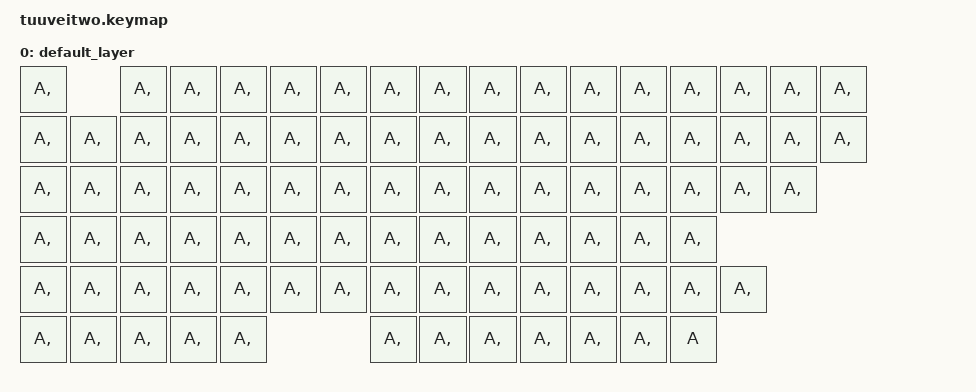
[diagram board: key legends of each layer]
/*
 * Copyright (c) 2022 The ZMK Contributors
 *
 * SPDX-License-Identifier: MIT
 */

#include <behaviors.dtsi>
#include <dt-bindings/zmk/keys.h>
#include <dt-bindings/zmk/bt.h>

#include <behaviors/num_word.dtsi> // Requires zmk-auto-layer module.
#include <behaviors/unicode.dtsi> // Requires zmk-unicode module.
#include <zmk-helpers/helper.h> // Requires zmk-helpers module.
#include <dt-bindings/zmk/mouse.h>

#include "zmk-helpers/helper.h"

/ {


        keymap {
                compatible = "zmk,keymap";

            default_layer {
        bindings = <
        &kp A,        &kp A, &kp A, &kp A, &kp A, &kp A,     &kp A, &kp A, &kp A, &kp A, &kp A, &kp A, &kp A, &kp A, &kp A, &kp A,
        &kp A, &kp A, &kp A, &kp A, &kp A, &kp A, &kp A,     &kp A, &kp A, &kp A, &kp A, &kp A, &kp A, &kp A, &kp A, &kp A, &kp A,
        &kp A, &kp A, &kp A, &kp A, &kp A, &kp A, &kp A,     &kp A, &kp A, &kp A, &kp A, &kp A, &kp A, &kp A, &kp A, &kp A, 
        &kp A, &kp A, &kp A, &kp A, &kp A, &kp A, &kp A,     &kp A, &kp A, &kp A, &kp A, &kp A, &kp A, &kp A,
        &kp A, &kp A, &kp A, &kp A, &kp A, &kp A, &kp A,     &kp A, &kp A, &kp A, &kp A, &kp A, &kp A, &kp A, &kp A,
        &kp A, &kp A, &kp A, &kp A, &kp A,                   &kp A, &kp A, &kp A, &kp A, &kp A, &kp A, &kp A
        >;
    };
    };
};

/*
 *      &kp ESC,           &kp F1,   &kp F2,   &kp F3,   &kp F4,         &kp F5,   &kp F6,   &kp F7,   &kp F8,       &kp F9,   &kp F10,  &kp F11,  &kp F12,    &kp PG_UP, &kp PG_DN,
 *      &kp GRAVE,  &kp N1,    &kp N2,    &kp N3,    &kp N4,    &kp N5,    &kp N6,             &kp N7,    &kp N8,    &kp N9,    &kp N0,    &kp MINUS, &kp EQUAL,  &kp BSPC,            &kp INS,  &kp HOME,
 *      &kp TAB,      &kp Q,    &kp W,    &kp E,    &kp R,    &kp T,    &kp Y,         &kp Y,    &kp U,    &kp I,    &kp O,    &kp P,    &kp LBRC, &kp RBRC,   &kp ENT,      &kp DEL,  &kp END,
 *      &kp CAPS,       &kp A,    &kp S,    &kp D,    &kp F,    &kp G,    &kp H,           &kp H,    &kp J,    &kp K,    &kp L,    &kp SCLN, &kp QUOT, &kp ASTR,
 *      &kp LSFT,   &kp BSLS, &kp Z,    &kp X,    &kp C,    &kp V,    &kp B,          &kp B,     &kp N,    &kp M,    &kp COMM, &kp DOT,  &kp SLSH, &kp LSFT,                   &kp UP,
 *      &kp LCTL,   &kp LGUI,   &kp LALT,   &kp SPC,    &kp PRINT_SCREEN,           &kp SPC,                  &kp RALT,   &kp LGUI,    &kp LCTL,       &kp LEFT, &kp DOWN, &kp RGHT
*/
